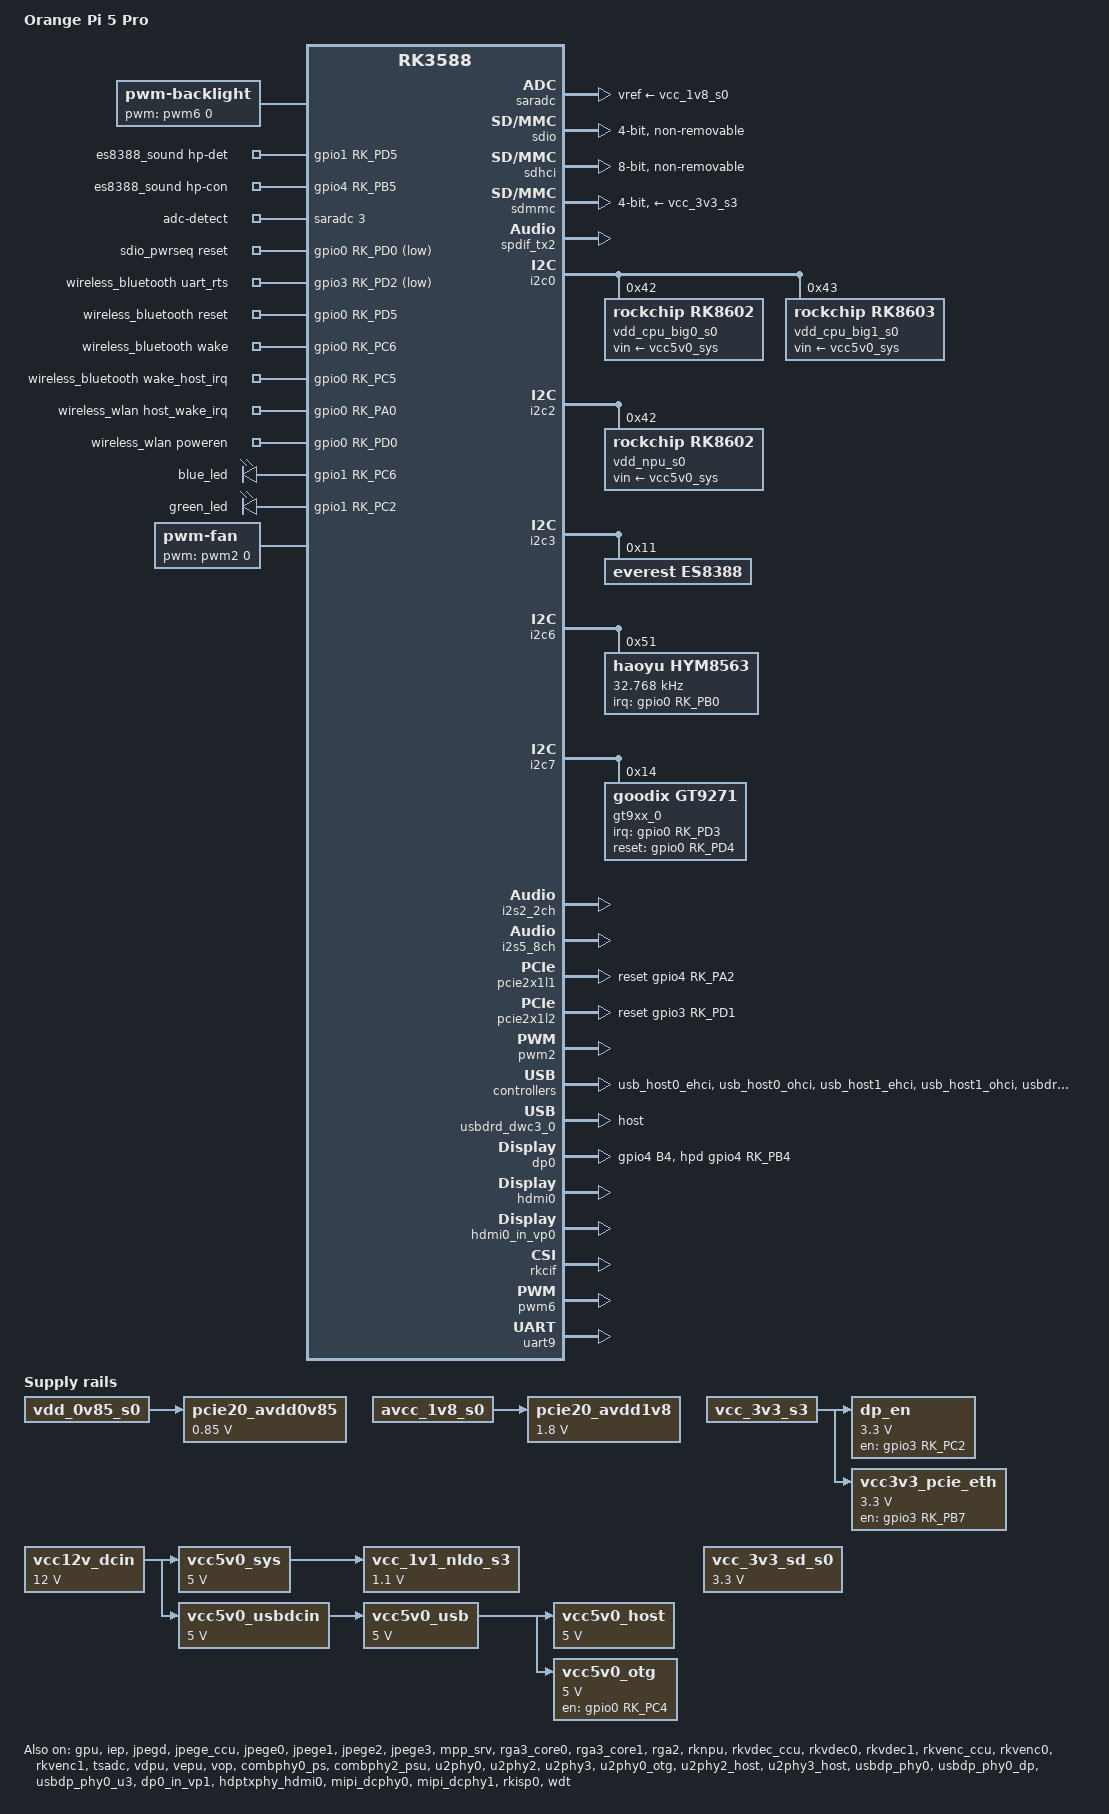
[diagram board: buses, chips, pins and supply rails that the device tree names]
// SPDX-License-Identifier: (GPL-2.0+ OR MIT)
/*
 * Copyright (c) 2021 Rockchip Electronics Co., Ltd.
 *
 */

/dts-v1/;

#include <dt-bindings/gpio/gpio.h>
#include <dt-bindings/pwm/pwm.h>
#include <dt-bindings/pinctrl/rockchip.h>
#include <dt-bindings/input/rk-input.h>
#include <dt-bindings/display/drm_mipi_dsi.h>
#include <dt-bindings/display/rockchip_vop.h>
#include <dt-bindings/sensor-dev.h>
#include "dt-bindings/usb/pd.h"

#include "rk3588s.dtsi"
#include "rk3588-rk806-single.dtsi"
#include "rk3588-linux.dtsi"
#include "rk3588s-orangepi-5-pro-camera1.dtsi"
#include "rk3588s-orangepi-5-pro-camera2.dtsi"

/ {
	model = "Orange Pi 5 Pro";
	compatible = "rockchip,rk3588s-orangepi-5-pro", "rockchip,rk3588";
	/delete-node/ chosen;

	backlight: backlight {
		compatible = "pwm-backlight";
		pwms = <&pwm6 0 25000 0>;
		brightness-levels = <
			  0  20  20  21  21  22  22  23
			 23  24  24  25  25  26  26  27
			 27  28  28  29  29  30  30  31
			 31  32  32  33  33  34  34  35
			 35  36  36  37  37  38  38  39
			 40  41  42  43  44  45  46  47
			 48  49  50  51  52  53  54  55
			 56  57  58  59  60  61  62  63
			 64  65  66  67  68  69  70  71
			 72  73  74  75  76  77  78  79
			 80  81  82  83  84  85  86  87
			 88  89  90  91  92  93  94  95
			 96  97  98  99 100 101 102 103
			104 105 106 107 108 109 110 111
			112 113 114 115 116 117 118 119
			120 121 122 123 124 125 126 127
			128 129 130 131 132 133 134 135
			136 137 138 139 140 141 142 143
			144 145 146 147 148 149 150 151
			152 153 154 155 156 157 158 159
			160 161 162 163 164 165 166 167
			168 169 170 171 172 173 174 175
			176 177 178 179 180 181 182 183
			184 185 186 187 188 189 190 191
			192 193 194 195 196 197 198 199
			200 201 202 203 204 205 206 207
			208 209 210 211 212 213 214 215
			216 217 218 219 220 221 222 223
			224 225 226 227 228 229 230 231
			232 233 234 235 236 237 238 239
			240 241 242 243 244 245 246 247
			248 249 250 251 252 253 254 255
		>;
		default-brightness-level = <200>;
	};

	hdmi0_sound: hdmi0-sound {
		status = "okay";
		compatible = "rockchip,hdmi";
		rockchip,mclk-fs = <128>;
		rockchip,card-name = "rockchip-hdmi0";
		rockchip,cpu = <&i2s5_8ch>;
		rockchip,codec = <&hdmi0>;
		rockchip,jack-det;
	};

	test-power {
		status = "disabled";
	};

	vcc12v_dcin: vcc12v-dcin {
		compatible = "regulator-fixed";
		regulator-name = "vcc12v_dcin";
		regulator-always-on;
		regulator-boot-on;
		regulator-min-microvolt = <12000000>;
		regulator-max-microvolt = <12000000>;
	};

	vcc5v0_sys: vcc5v0-sys {
		compatible = "regulator-fixed";
		regulator-name = "vcc5v0_sys";
		regulator-always-on;
		regulator-boot-on;
		regulator-min-microvolt = <5000000>;
		regulator-max-microvolt = <5000000>;
		vin-supply = <&vcc12v_dcin>;
	};

	vcc5v0_usbdcin: vcc5v0-usbdcin {
		compatible = "regulator-fixed";
		regulator-name = "vcc5v0_usbdcin";
		regulator-always-on;
		regulator-boot-on;
		regulator-min-microvolt = <5000000>;
		regulator-max-microvolt = <5000000>;
		vin-supply = <&vcc12v_dcin>;
	};

	vcc5v0_usb: vcc5v0-usb {
		compatible = "regulator-fixed";
		regulator-name = "vcc5v0_usb";
		regulator-always-on;
		regulator-boot-on;
		regulator-min-microvolt = <5000000>;
		regulator-max-microvolt = <5000000>;
		vin-supply = <&vcc5v0_usbdcin>;
	};

	vcc_1v1_nldo_s3: vcc-1v1-nldo-s3 {
		compatible = "regulator-fixed";
		regulator-name = "vcc_1v1_nldo_s3";
		regulator-always-on;
		regulator-boot-on;
		regulator-min-microvolt = <1100000>;
		regulator-max-microvolt = <1100000>;
		vin-supply = <&vcc5v0_sys>;
	};

	vcc_3v3_sd_s0: vcc-3v3-sd-s0 {
		compatible = "regulator-fixed";
		regulator-name = "vcc_3v3_sd_s0";
		regulator-min-microvolt = <3300000>;
		regulator-max-microvolt = <3300000>;
	};

	es8388_sound: es8388-sound {
		status = "okay";
		compatible = "rockchip,multicodecs-card";
		rockchip,card-name = "rockchip-es8388";
		hp-det-gpio = <&gpio1 RK_PD5 GPIO_ACTIVE_HIGH>;
		io-channels = <&saradc 3>;
		io-channel-names = "adc-detect";
		keyup-threshold-microvolt = <1800000>;
		poll-interval = <100>;
		hp-con-gpio = <&gpio4 RK_PB5 GPIO_ACTIVE_HIGH>;
		rockchip,format = "i2s";
		rockchip,mclk-fs = <256>;
		rockchip,cpu = <&i2s2_2ch>;
		rockchip,codec = <&es8388>;
		rockchip,audio-routing =
			"Headphone", "LOUT1",
			"Headphone", "ROUT1",
			"Speaker", "LOUT2",
			"Speaker", "ROUT2",
			"Headphone", "Headphone Power",
			"Headphone", "Headphone Power",
			"Speaker", "Speaker Power",
			"Speaker", "Speaker Power",
			"LINPUT1", "Main Mic",
			"LINPUT2", "Main Mic",
			"RINPUT1", "Headset Mic",
			"RINPUT2", "Headset Mic";
		pinctrl-names = "default";
		pinctrl-0 = <&hp_det>;
		play-pause-key {
			label = "playpause";
			linux,code = <KEY_PLAYPAUSE>;
			press-threshold-microvolt = <2000>;
		};
	};

	pcie20_avdd0v85: pcie20-avdd0v85 {
		compatible = "regulator-fixed";
		regulator-name = "pcie20_avdd0v85";
		regulator-boot-on;
		regulator-always-on;
		regulator-min-microvolt = <850000>;
		regulator-max-microvolt = <850000>;
		vin-supply = <&vdd_0v85_s0>;
	};

	pcie20_avdd1v8: pcie20-avdd1v8 {
		compatible = "regulator-fixed";
		regulator-name = "pcie20_avdd1v8";
		regulator-boot-on;
		regulator-always-on;
		regulator-min-microvolt = <1800000>;
		regulator-max-microvolt = <1800000>;
		vin-supply = <&avcc_1v8_s0>;
	};

	dp_en: dp-en {
		compatible = "regulator-fixed";
		regulator-name = "dp_en";
		regulator-min-microvolt = <3300000>;
		regulator-max-microvolt = <3300000>;
		enable-active-high;
		regulator-boot-on;
		regulator-always-on;
		gpios = <&gpio3 RK_PC2 GPIO_ACTIVE_HIGH>;
		vin-supply = <&vcc_3v3_s3>;
	};

	vcc5v0_host: vcc5v0-host {
		compatible = "regulator-fixed";
		regulator-name = "vcc5v0_host";
		regulator-boot-on;
		regulator-always-on;
		regulator-min-microvolt = <5000000>;
		regulator-max-microvolt = <5000000>;
		vin-supply = <&vcc5v0_usb>;
	};

	vcc5v0_otg: vcc5v0-otg {
		compatible = "regulator-fixed";
		regulator-name = "vcc5v0_otg";
		regulator-min-microvolt = <5000000>;
		regulator-max-microvolt = <5000000>;
		enable-active-high;
		gpio = <&gpio0 RK_PC4 GPIO_ACTIVE_HIGH>;
		pinctrl-names = "default";
		pinctrl-0 = <&vcc5v0_otg_en>;
		vin-supply = <&vcc5v0_usb>;
	};

	vcc3v3_pcie_eth: vcc3v3-pcie-eth {
		compatible = "regulator-fixed";
		regulator-name = "vcc3v3_pcie_eth";
		regulator-min-microvolt = <3300000>;
		regulator-max-microvolt = <3300000>;
		regulator-boot-on;
		regulator-always-on;
		enable-active-high;
		gpios = <&gpio3 RK_PB7 GPIO_ACTIVE_LOW>;
		vin-supply = <&vcc_3v3_s3>;
	};

        sdio_pwrseq: sdio-pwrseq {
                compatible = "mmc-pwrseq-simple";
                clocks = <&hym8563>;
                clock-names = "ext_clock";
                pinctrl-names = "default";
                pinctrl-0 = <&wifi_enable_h>;
                /*
                 * On the module itself this is one of these (depending
                 * on the actual card populated):
                 * - SDIO_RESET_L_WL_REG_ON
                 * - PDN (power down when low)
                 */
                post-power-on-delay-ms = <200>;
                reset-gpios = <&gpio0 RK_PD0 GPIO_ACTIVE_LOW>;
        };

	wireless_bluetooth: wireless-bluetooth {
		compatible = "bluetooth-platdata";
		clocks = <&hym8563>;
		clock-names = "ext_clock";
		uart_rts_gpios = <&gpio3 RK_PD2 GPIO_ACTIVE_LOW>;
		pinctrl-names = "default", "rts_gpio";
		pinctrl-0 = <&uart9m2_rtsn>,  <&bt_reset_gpio>, <&bt_wake_gpio>, <&bt_irq_gpio>;
		pinctrl-1 = <&uart9_gpios>;
		BT,reset_gpio    = <&gpio0 RK_PD5 GPIO_ACTIVE_HIGH>;
		BT,wake_gpio     = <&gpio0 RK_PC6 GPIO_ACTIVE_HIGH>;
		BT,wake_host_irq = <&gpio0 RK_PC5 GPIO_ACTIVE_HIGH>;
		status = "okay";
	};

	wireless_wlan: wireless-wlan {
		compatible = "wlan-platdata";
		wifi_chip_type = "ap6256";
		pinctrl-names = "default";
		pinctrl-0 = <&wifi_host_wake_irq>;
		WIFI,host_wake_irq = <&gpio0 RK_PA0 GPIO_ACTIVE_HIGH>;
		WIFI,poweren_gpio = <&gpio0 RK_PD0 GPIO_ACTIVE_HIGH>;
		status = "okay";
	};

	leds: gpio-leds {
		compatible = "gpio-leds";
		pinctrl-names = "default";
		pinctrl-0 =<&leds_rgb>;
		status = "okay";

		blue_led@1 {
			gpios = <&gpio1 RK_PC6 GPIO_ACTIVE_HIGH>;
			label = "blue_led";
			linux,default-trigger = "heartbeat";
			linux,default-trigger-delay-ms = <0>;
		};

		green_led@2 {
			gpios = <&gpio1 RK_PC2 GPIO_ACTIVE_HIGH>;
			label = "green_led";
			linux,default-trigger = "heartbeat";
			linux,default-trigger-delay-ms = <0>;
		};
	};

	fan: pwm-fan {
		compatible = "pwm-fan";
		#cooling-cells = <2>;
		pwms = <&pwm2 0 20000000 0>;
		cooling-levels = <0 50 100 150 200 255>;
		rockchip,temp-trips = <
			50000   1
			55000   2
			60000   3
			65000   4
			70000   5
		>;

		status = "okay";
	};

	dp0_sound: dp0-sound {
		status = "okay";
		compatible = "rockchip,hdmi";
		rockchip,card-name= "rockchip-dp0";
		rockchip,mclk-fs = <512>;
		rockchip,cpu = <&spdif_tx2>;
		rockchip,codec = <&dp0 1>;
		rockchip,jack-det;
	};
};

&av1d_mmu {
	status = "okay";
};

&dsi1 {
	status = "disabled";
	pinctrl-names = "default";
	pinctrl-0 = <&mipi_te1>;

	dsi1_panel: panel@0 {
		status = "disabled";
		compatible = "innolux,afj101-ba2131";
		reg = <0>;
		backlight = <&backlight>;
		reset-gpios = <&gpio3 RK_PC0 GPIO_ACTIVE_LOW>;
		enable-gpios = <&gpio3 RK_PC1 GPIO_ACTIVE_HIGH>;
		pinctrl-names = "default";
		pinctrl-0 = <&lcd_rst_gpio>;

		ports {
			#address-cells = <1>;
			#size-cells = <0>;

			port@0 {
				reg = <0>;
				panel_in_dsi1: endpoint {
					remote-endpoint = <&dsi1_out_panel>;
				};
			};
		};
	};

	ports {
		#address-cells = <1>;
		#size-cells = <0>;

		port@1 {
			reg = <1>;
			dsi1_out_panel: endpoint {
				remote-endpoint = <&panel_in_dsi1>;
			};
		};
	};
};

&gpu {
	mali-supply = <&vdd_gpu_s0>;
	mem-supply = <&vdd_gpu_mem_s0>;
	status = "okay";
};

&iep {
	status = "okay";
};

&iep_mmu {
	status = "okay";
};

&jpegd {
	status = "okay";
};

&jpegd_mmu {
	status = "okay";
};

&jpege_ccu {
	status = "okay";
};

&jpege0 {
	status = "okay";
};

&jpege0_mmu {
	status = "okay";
};

&jpege1 {
	status = "okay";
};

&jpege1_mmu {
	status = "okay";
};

&jpege2 {
	status = "okay";
};

&jpege2_mmu {
	status = "okay";
};

&jpege3 {
	status = "okay";
};

&jpege3_mmu {
	status = "okay";
};

&mpp_srv {
	status = "okay";
};

&rga3_core0 {
	status = "okay";
};

&rga3_0_mmu {
	status = "okay";
};

&rga3_core1 {
	status = "okay";
};

&rga3_1_mmu {
	status = "okay";
};

&rga2 {
	status = "okay";
};

&rknpu {
	rknpu-supply = <&vdd_npu_s0>;
	mem-supply = <&vdd_npu_mem_s0>;
	status = "okay";
};

&rknpu_mmu {
	status = "okay";
};

&rkvdec_ccu {
	status = "okay";
};

&rkvdec0 {
	status = "okay";
};

&rkvdec0_mmu {
	status = "okay";
};

&rkvdec1 {
	status = "okay";
};

&rkvdec1_mmu {
	status = "okay";
};

&rkvenc_ccu {
	status = "okay";
};

&rkvenc0 {
	status = "okay";
};

&rkvenc0_mmu {
	status = "okay";
};

&rkvenc1 {
	status = "okay";
};

&rkvenc1_mmu {
	status = "okay";
};

&rockchip_suspend {
	status = "okay";
	rockchip,sleep-debug-en = <1>;
};

&saradc {
	status = "okay";
	vref-supply = <&vcc_1v8_s0>;
};

&sdio {
	max-frequency = <150000000>;
	no-sd;
	no-mmc;
	bus-width = <4>;
	disable-wp;
	cap-sd-highspeed;
	cap-sdio-irq;
	keep-power-in-suspend;
	mmc-pwrseq = <&sdio_pwrseq>;
	non-removable;
	pinctrl-names = "default";
	pinctrl-0 = <&sdiom1_pins>;
	sd-uhs-sdr104;
	status = "okay";
};

&sdhci {
	bus-width = <8>;
	no-sdio;
	no-sd;
	non-removable;
	max-frequency = <200000000>;
	mmc-hs400-1_8v;
	mmc-hs400-enhanced-strobe;
	status = "okay";
};

&sdmmc {
	max-frequency = <150000000>;
	no-sdio;
	no-mmc;
	bus-width = <4>;
	cap-mmc-highspeed;
	cap-sd-highspeed;
	disable-wp;
	sd-uhs-sdr104;
	vmmc-supply = <&vcc_3v3_s3>;
	vqmmc-supply = <&vccio_sd_s0>;
	status = "okay";
};

&tsadc {
	status = "okay";
};

&vdpu {
	status = "okay";
};

&vdpu_mmu {
	status = "okay";
};

&vepu {
	status = "okay";
};

&vop {
	status = "okay";
	disable-win-move;
	assigned-clocks = <&cru ACLK_VOP>;
	assigned-clock-rates = <800000000>;
};

&vop_mmu {
	status = "okay";
};

/* vp0 & vp1 splice for 8K output */
&vp0 {
	cursor-win-id=<ROCKCHIP_VOP2_ESMART0>;
	rockchip,plane-mask = <(1 << ROCKCHIP_VOP2_CLUSTER0 | 1 << ROCKCHIP_VOP2_ESMART0)>;
	rockchip,primary-plane = <ROCKCHIP_VOP2_ESMART0>;
	rockchip,primary-plane = <ROCKCHIP_VOP2_CLUSTER0>;
};

&vp1 {
	cursor-win-id=<ROCKCHIP_VOP2_ESMART1>;
	rockchip,plane-mask = <(1 << ROCKCHIP_VOP2_CLUSTER1 | 1 << ROCKCHIP_VOP2_ESMART1)>;
	rockchip,primary-plane = <ROCKCHIP_VOP2_ESMART1>;
	rockchip,primary-plane = <ROCKCHIP_VOP2_CLUSTER1>;
};

&vp2 {
	cursor-win-id=<ROCKCHIP_VOP2_ESMART2>;
	rockchip,plane-mask = <(1 << ROCKCHIP_VOP2_CLUSTER2 | 1 << ROCKCHIP_VOP2_ESMART2)>;
	rockchip,primary-plane = <ROCKCHIP_VOP2_ESMART2>;
	rockchip,primary-plane = <ROCKCHIP_VOP2_CLUSTER2>;
};

&vp3 {
	cursor-win-id=<ROCKCHIP_VOP2_ESMART3>;
	rockchip,plane-mask = <(1 << ROCKCHIP_VOP2_CLUSTER3 | 1 << ROCKCHIP_VOP2_ESMART3)>;
	rockchip,primary-plane = <ROCKCHIP_VOP2_ESMART3>;
	rockchip,primary-plane = <ROCKCHIP_VOP2_CLUSTER3>;
};

&display_subsystem {
	clocks = <&hdptxphy_hdmi_clk0>;
	clock-names = "hdmi0_phy_pll";
};

&cpu_l0 {
	cpu-supply = <&vdd_cpu_lit_s0>;
	mem-supply = <&vdd_cpu_lit_mem_s0>;
};

&cpu_b0 {
	cpu-supply = <&vdd_cpu_big0_s0>;
	mem-supply = <&vdd_cpu_big0_mem_s0>;
};

&cpu_b2 {
	cpu-supply = <&vdd_cpu_big1_s0>;
	mem-supply = <&vdd_cpu_big1_mem_s0>;
};

&combphy0_ps {
	status = "okay";
};

&combphy2_psu {
	status = "okay";
};

&spdif_tx2{
	status = "okay";
};

&i2c0 {
	status = "okay";
	pinctrl-names = "default";
	pinctrl-0 = <&i2c0m2_xfer>;

	vdd_cpu_big0_s0: vdd_cpu_big0_mem_s0: rk8602@42 {
		compatible = "rockchip,rk8602";
		reg = <0x42>;
		vin-supply = <&vcc5v0_sys>;
		regulator-compatible = "rk860x-reg";
		regulator-name = "vdd_cpu_big0_s0";
		regulator-min-microvolt = <550000>;
		regulator-max-microvolt = <1050000>;
		regulator-ramp-delay = <2300>;
		rockchip,suspend-voltage-selector = <1>;
		regulator-boot-on;
		regulator-always-on;
		regulator-state-mem {
			regulator-off-in-suspend;
		};
	};

	vdd_cpu_big1_s0: vdd_cpu_big1_mem_s0: rk8603@43 {
		compatible = "rockchip,rk8603";
		reg = <0x43>;
		vin-supply = <&vcc5v0_sys>;
		regulator-compatible = "rk860x-reg";
		regulator-name = "vdd_cpu_big1_s0";
		regulator-min-microvolt = <550000>;
		regulator-max-microvolt = <1050000>;
		regulator-ramp-delay = <2300>;
		rockchip,suspend-voltage-selector = <1>;
		regulator-boot-on;
		regulator-always-on;
		regulator-state-mem {
			regulator-off-in-suspend;
		};
	};
};

&i2c2 {
	status = "okay";
	pinctrl-names = "default";
	pinctrl-0 = <&i2c2m0_xfer>;

	vdd_npu_s0: vdd_npu_mem_s0: rk8602@42 {
		compatible = "rockchip,rk8602";
		reg = <0x42>;
		vin-supply = <&vcc5v0_sys>;
		regulator-compatible = "rk860x-reg";
		regulator-name = "vdd_npu_s0";
		regulator-min-microvolt = <550000>;
		regulator-max-microvolt = <950000>;
		regulator-ramp-delay = <2300>;
		rockchip,suspend-voltage-selector = <1>;
		regulator-boot-on;
		regulator-always-on;
		regulator-state-mem {
			regulator-off-in-suspend;
		};
	};
};

&i2c3 {
	status = "okay";

	es8388: es8388@11 {
		status = "okay";
		#sound-dai-cells = <0>;
		compatible = "everest,es8388", "everest,es8323";
		reg = <0x11>;
		clocks = <&mclkout_i2s2>;
		clock-names = "mclk";
		assigned-clocks = <&mclkout_i2s2>;
		assigned-clock-rates = <12288000>;
		pinctrl-names = "default";
		pinctrl-0 = <&i2s2m1_mclk>;
	};
};

&i2c6 {
	status = "okay";
	pinctrl-names = "default";
	pinctrl-0 = <&i2c6m3_xfer>;

	hym8563: hym8563@51 {
		compatible = "haoyu,hym8563";
		reg = <0x51>;
		#clock-cells = <0>;
		clock-frequency = <32768>;
		clock-output-names = "hym8563";
		pinctrl-names = "default";
		pinctrl-0 = <&hym8563_int>;
		interrupt-parent = <&gpio0>;
		interrupts = <RK_PB0 IRQ_TYPE_LEVEL_LOW>;
		status = "okay";
	};

};

&i2c7 {
	status = "okay";

	gt9xx_0: touchscreen@14 {
		compatible = "goodix,gt9271";
		reg = <0x14>;
		interrupt-parent = <&gpio0>;
		interrupts = <RK_PD3 IRQ_TYPE_LEVEL_LOW>;
		irq-gpios = <&gpio0 RK_PD3 IRQ_TYPE_LEVEL_LOW>;
		reset-gpios = <&gpio0 RK_PD4 GPIO_ACTIVE_HIGH>;
		touchscreen-inverted-x;
		//touchscreen-inverted-y;
		touchscreen-swapped-x-y;
		touchscreen-size-x = <1280>;
		touchscreen-size-y = <800>;
		status = "okay";
	};
};

&i2s2_2ch {
	status = "okay";

	pinctrl-0 = <&i2s2m1_lrck
		     &i2s2m1_sclk
		     &i2s2m1_sdi
		     &i2s2m1_sdo>;
};

&i2s5_8ch {
	status = "okay";
};

//phy2
&pcie2x1l1 {
	reset-gpios = <&gpio4 RK_PA2 GPIO_ACTIVE_HIGH>;
	status = "okay";
};

//phy0
&pcie2x1l2 {
	reset-gpios = <&gpio3 RK_PD1 GPIO_ACTIVE_HIGH>;
	status = "okay";
};

&pinctrl {
	sdio-pwrseq {
		wifi_enable_h: wifi-enable-h {
			rockchip,pins = <0 RK_PD0 RK_FUNC_GPIO &pcfg_pull_none>;
		};
	};

	headphone {
		hp_det: hp-det {
			rockchip,pins = <1 RK_PD5 RK_FUNC_GPIO &pcfg_pull_none>;
		};
	};

	hym8563 {
		hym8563_int: hym8563-int {
			rockchip,pins = <0 RK_PB0 RK_FUNC_GPIO &pcfg_pull_up>;
		};
	};

	lcd {
		lcd_rst_gpio: lcd-rst-gpio {
			rockchip,pins = <3 RK_PC0 RK_FUNC_GPIO &pcfg_pull_none>,
					<3 RK_PC1 RK_FUNC_GPIO &pcfg_pull_none>;
		};
	};

	usb {
		vcc5v0_otg_en: vcc5v0-otg-en {
			rockchip,pins = <0 RK_PC4 RK_FUNC_GPIO &pcfg_pull_none>;
		};
	};

	dp0 {
		dp0_hpd: dp0-hpd {
			rockchip,pins = <4 RK_PB4 RK_FUNC_GPIO &pcfg_pull_none>;
		};
	};

	wireless-bluetooth {
		uart9_gpios: uart7-gpios {
			rockchip,pins = <3 RK_PD2 RK_FUNC_GPIO &pcfg_pull_none>;
		};

		bt_reset_gpio: bt-reset-gpio {
			rockchip,pins = <0 RK_PD5 RK_FUNC_GPIO &pcfg_pull_none>;
		};

		bt_wake_gpio: bt-wake-gpio {
			rockchip,pins = <0 RK_PC6 RK_FUNC_GPIO &pcfg_pull_none>;
		};

		bt_irq_gpio: bt-irq-gpio {
			rockchip,pins = <0 RK_PC5 RK_FUNC_GPIO &pcfg_pull_down>;
		};
	};

	wireless-wlan {
		wifi_host_wake_irq: wifi-host-wake-irq {
			rockchip,pins = <0 RK_PA0 RK_FUNC_GPIO &pcfg_pull_down>;
		};
	};

	leds_gpio {
		leds_rgb: leds-rgb {
			rockchip,pins = <1 RK_PC6 RK_FUNC_GPIO &pcfg_pull_none>,
					<1 RK_PC2 RK_FUNC_GPIO &pcfg_pull_none>;
		};
	};
};

&pwm2 {
	pinctrl-names = "active";
	pinctrl-0 = <&pwm2m1_pins>;
	status = "okay";
};

&u2phy0 {
	status = "okay";
};

&u2phy2 {
	status = "okay";
};

&u2phy3 {
	status = "okay";
};

&u2phy0_otg {
	vbus-supply = <&vcc5v0_otg>;
	status = "okay";
};

&u2phy2_host {
	phy-supply = <&vcc5v0_host>;
	status = "okay";
};

&u2phy3_host {
	phy-supply = <&vcc5v0_host>;
	status = "okay";
};

&usb_host0_ehci {
	status = "okay";
};

&usb_host0_ohci {
	status = "okay";
};

&usb_host1_ehci {
	status = "okay";
};

&usb_host1_ohci {
	status = "okay";
};

&usbdrd3_0 {
	status = "okay";
};

&usbdrd_dwc3_0 {
	status = "okay";
	dr_mode = "host";
	extcon = <&u2phy0>;
};

&usbhost3_0 {
	status = "disabled";
};

&usbhost_dwc3_0 {
	status = "disabled";
};

&usbdp_phy0 {
	status = "okay";
	rockchip,dp-lane-mux = <0 1>;
};

&usbdp_phy0_dp {
	status = "okay";
};

&usbdp_phy0_u3 {
	status = "okay";
};

&dp0 {
	pinctrl-names = "default";
	pinctrl-0 = <&dp0_hpd>;
	hpd-gpios = <&gpio4 RK_PB4 GPIO_ACTIVE_HIGH>;
	status = "okay";
};

&dp0_in_vp1 {
	status = "okay";
};

&hdmi0 {
	status = "okay";
	enable-gpios = <&gpio4 RK_PB6 GPIO_ACTIVE_HIGH>;
	cec-enable = "true";
};

&hdmi0_in_vp0 {
	status = "okay";
};

&hdptxphy_hdmi0 {
	status = "okay";
};

&mipi_dcphy0 {
	status = "okay";
};

&mipi_dcphy1 {
	status = "okay";
};

&rkcif {
        status = "okay";
};

&rkcif_mmu {
        status = "okay";
};

&rkisp0 {
        status = "okay";
};

&isp0_mmu {
        status = "okay";
};

/* watchdog */
&wdt {
	status = "okay";
};

&sfc {
	status = "disabled";
	max-freq = <100000000>;
	#address-cells = <1>;
	#size-cells = <0>;
	pinctrl-names = "default";
	pinctrl-0 = <&fspim0_pins>;

	spi_flash: spi-flash@0 {
		#address-cells = <1>;
		#size-cells = <0>;
		compatible = "jedec,spi-nor";
		reg = <0x0>;
		spi-max-frequency = <100000000>;
		spi-tx-bus-width = <1>;
		spi-rx-bus-width = <4>;
		status = "okay";

		partitions {
			compatible = "fixed-partitions";
			#address-cells = <1>;
			#size-cells = <1>;

			loader@0 {
				label = "loader";
				reg = <0x0 0x1000000>;
			};
		};
	};
};

&pwm6 {
	pinctrl-names = "active";
	pinctrl-0 = <&pwm6m0_pins>;
	status = "okay";
};

&can1 {
	assigned-clocks = <&cru CLK_CAN1>;
	assigned-clock-rates = <200000000>;
};

&spi0 {
	assigned-clocks = <&cru CLK_SPI0>;
	assigned-clock-rates = <200000000>;
	num-cs = <2>;
};

&uart9 {
	status = "okay";
	pinctrl-names = "default";
	pinctrl-0 = <&uart9m2_xfer &uart9m2_ctsn>;
};

&spi4 {
	assigned-clocks = <&cru CLK_SPI4>;
	assigned-clock-rates = <200000000>;
	num-cs = <2>;
};
